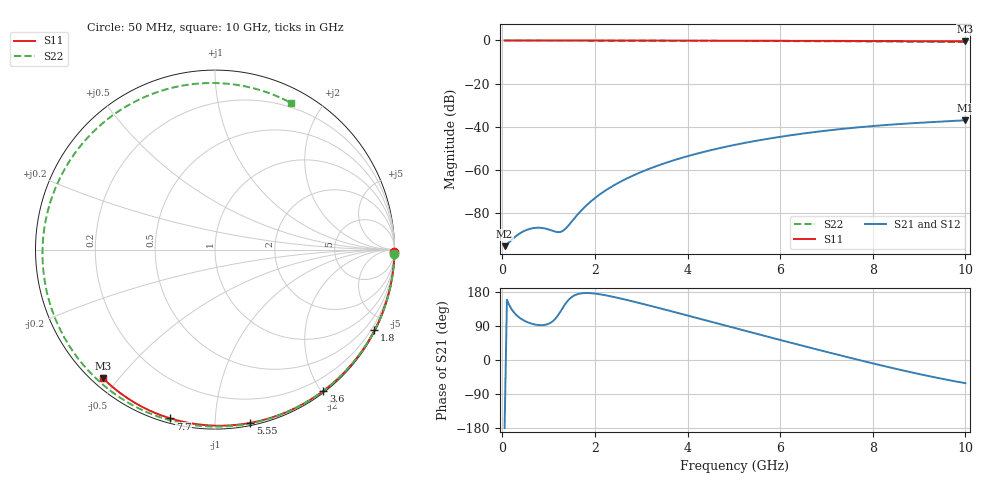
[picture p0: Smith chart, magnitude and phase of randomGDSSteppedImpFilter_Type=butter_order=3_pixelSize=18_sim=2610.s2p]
! freq	dB(S11)	phase(S11)	dB(S12)	phase(S12)
!  dB(S21)	phase(S21)	dB(S22)	phase(S22)
!S-par simulation data
#  GHz  S  DB  R 50
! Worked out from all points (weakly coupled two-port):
!   200 points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, 50 MHz to 10 GHz, reference 50 ohm
!   highest |S21| = -37.00 dB at 10 GHz (marker M1); lowest = -95.3 dB at 50 MHz (marker M2)
!   lowest |S11| = -0.4 dB at 10 GHz (marker M3), VSWR 39.16, Z = 1.54 - j22.7 ohm
!   |S11| at or under -10 dB: nowhere
!   |S22| runs from -0.7 to 0.0 dB; largest |S21 - S12| = 0
!   S11 on the Smith chart (normalised r, x): 50 MHz: open; 1.8 GHz: 0.04, -4.19; 3.6 GHz: 0.02, -2.03; 5.55 GHz: 0.02, -1.22; 7.7 GHz: 0.02, -0.77; 10 GHz: 0.03, -0.45
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0.05  -0.00 -0.8  -95.35 -179.5  -95.35 -179.5  -0.00 -1.4
0.8  -0.01 -12.1  -86.81 92.0  -86.81 92.0  -0.02 -22.7
1.65  -0.03 -24.7  -80.12 174.6  -80.12 174.6  -0.06 -46.4
1.75  -0.03 -26.1  -77.84 176.5  -77.84 176.5  -0.06 -49.1
1.8  -0.03 -26.9  -76.78 176.8  -76.78 176.8  -0.06 -50.5
2.1  -0.04 -31.2  -71.44 173.6  -71.44 173.6  -0.08 -58.6
2.45  -0.05 -36.3  -66.66 165.2  -66.66 165.2  -0.09 -68.0
2.9  -0.06 -42.7  -61.89 152.2  -61.89 152.2  -0.10 -79.9
3.4  -0.07 -49.7  -57.69 136.6  -57.69 136.6  -0.12 -92.9
3.6  -0.07 -52.5  -56.24 130.3  -56.24 130.3  -0.13 -98.1
4.3  -0.09 -62.1  -51.92 107.7  -51.92 107.7  -0.16 -116.0
5.05  -0.11 -72.0  -48.26 83.4  -48.26 83.4  -0.21 -135.2
5.55  -0.13 -78.5  -46.25 67.3  -46.25 67.3  -0.24 -148.2
6.15  -0.15 -86.0  -44.18 48.1  -44.18 48.1  -0.29 -164.2
6.7  -0.18 -92.8  -42.57 30.8  -42.57 30.8  -0.34 -179.6
7.2  -0.21 -98.8  -41.31 15.3  -41.31 15.3  -0.40 165.6
7.7  -0.24 -104.8  -40.23 0.0  -40.23 0.0  -0.45 149.8
8.35  -0.29 -112.4  -39.08 -19.1  -39.08 -19.1  -0.53 127.6
8.8  -0.32 -117.5  -38.43 -31.7  -38.43 -31.7  -0.59 111.0
9.2  -0.36 -122.1  -37.92 -42.2  -37.92 -42.2  -0.63 95.4
9.6  -0.40 -126.6  -37.46 -52.1  -37.46 -52.1  -0.68 79.2
10  -0.44 -131.1  -37.00 -61.2  -37.00 -61.2  -0.72 62.4
